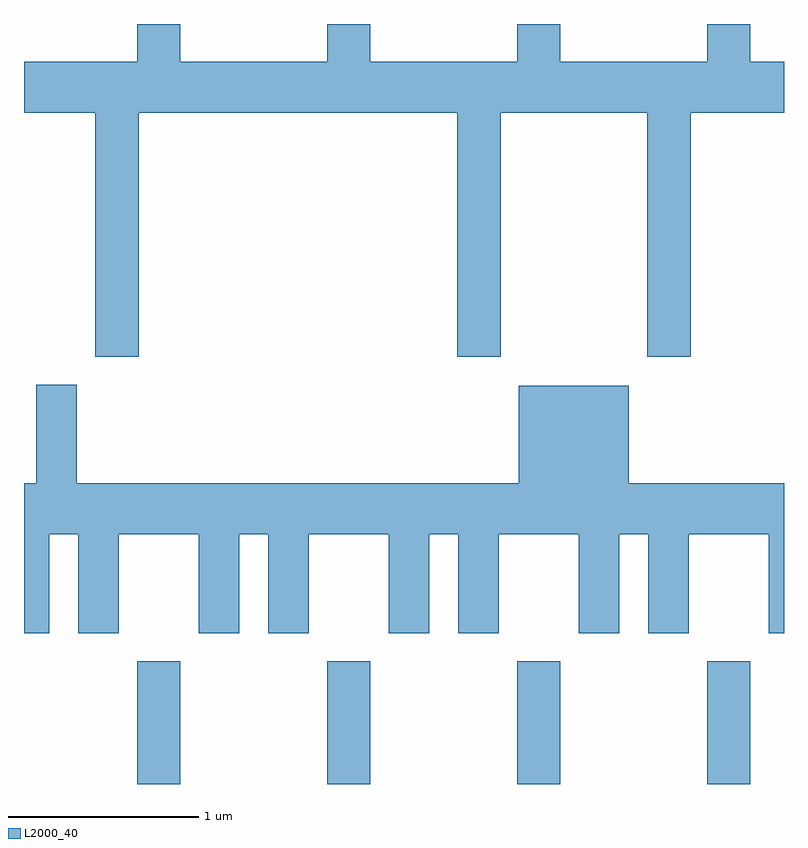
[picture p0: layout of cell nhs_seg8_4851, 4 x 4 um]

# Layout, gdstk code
import gdstk
lib = gdstk.Library(unit=1e-6, precision=1e-09)
def R(c, l, rs):  # rectangles x0, y0, x1, y1
    for r in rs: c.add(gdstk.rectangle(r[:2], r[2:], *l))
def A(c, l, x, y, w, h, nx, ny, dx, dy):  # array of equal rectangles
    R(c, l, [(x+i*dx, y+j*dy, x+i*dx+w, y+j*dy+h) for i in range(nx) for j in range(ny)])
def P(c, l, *ps):  # polygons
    for p in ps: c.add(gdstk.Polygon(p, *l))
L2000_40 = (2000, 40)

nhs_seg8_4851 = lib.new_cell('nhs_seg8_4851')
A(nhs_seg8_4851, L2000_40, 330.206, 1928.342, 0.228, 0.647, 4, 1, 1, 0)
P(nhs_seg8_4851, L2000_40, [(330.214,1931.876),(331.891,1931.876),(331.891,1930.591),(332.119,1930.591),(332.119,1931.876),(332.891,1931.876),(332.891,1930.591),(333.119,1930.591),(333.119,1931.876),(333.611,1931.876),(333.611,1932.144),(333.434,1932.144),(333.434,1932.342),(333.206,1932.342),(333.206,1932.144),(332.434,1932.144),(332.434,1932.342),(332.206,1932.342),(332.206,1932.144),(331.434,1932.144),(331.434,1932.342),(331.206,1932.342),(331.206,1932.144),(330.434,1932.144),(330.434,1932.342),(330.206,1932.342),(330.206,1932.144),(329.611,1932.144),(329.611,1931.876),(329.986,1931.876),(329.986,1930.591),(330.214,1930.591)],
  [(329.744,1929.656),(329.896,1929.656),(329.896,1929.136),(330.109,1929.136),(330.109,1929.656),(330.531,1929.656),(330.531,1929.136),(330.744,1929.136),(330.744,1929.656),(330.896,1929.656),(330.896,1929.136),(331.109,1929.136),(331.109,1929.656),(331.531,1929.656),(331.531,1929.136),(331.744,1929.136),(331.744,1929.656),(331.896,1929.656),(331.896,1929.136),(332.109,1929.136),(332.109,1929.656),(332.531,1929.656),(332.531,1929.136),(332.744,1929.136),(332.744,1929.656),(332.896,1929.656),(332.896,1929.136),(333.109,1929.136),(333.109,1929.656),(333.531,1929.656),(333.531,1929.136),(333.611,1929.136),(333.611,1929.924),(332.794,1929.924),(332.794,1930.439),(332.216,1930.439),(332.216,1929.924),(329.889,1929.924),(329.889,1930.444),(329.676,1930.444),(329.676,1929.924),(329.611,1929.924),(329.611,1929.136),(329.744,1929.136)])

lib.write_gds('nhs_seg8_4851.gds')
